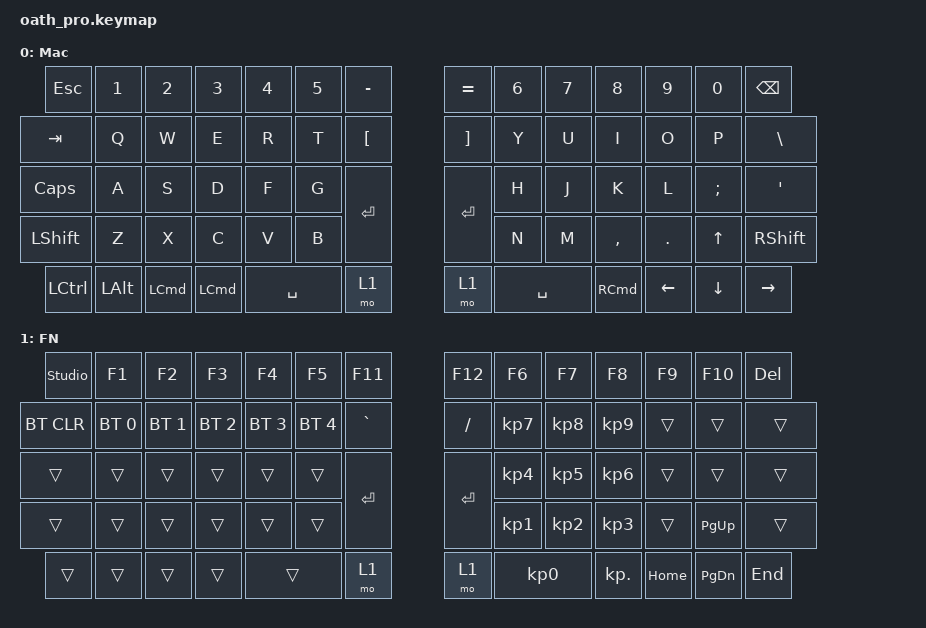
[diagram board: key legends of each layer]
#include <behaviors.dtsi>
#include <dt-bindings/zmk/keys.h>
#include <dt-bindings/zmk/bt.h>

/ {
        keymap {
                compatible = "zmk,keymap";

                default_layer { //Layer 0
                        display-name = "Mac";
// -------------------------------------------------------------------------------------------
// |  ESC |  1  |  2  |  3  |  4  |  5  |  -  |   |  =  |  6  |  7  |  8  |  9  |  10 | BSPC |
// |  TAB |  Q  |  W  |  E  |  R  |  T  |  [  |   |  ]  |  Y  |  U  |  I  |  O  |  P  |   \  |
// | CAPS |  A  |  S  |  D  |  F  |  G  |     |   |     |  H  |  J  |  K  |  L  |  ;  |  '   |
// | SHFT |  Z  |  X  |  C  |  V  |  B  | ENT |   | ENT |  N  |  M  |  ,  |  .  |  UP | SHFT |
// | CTRL | OPT | CMD | CMD |     | SPC |  FN |   |  FN | SPC |     | CMD | LFT | DWN |  RGT |
// -------------------------------------------------------------------------------------------                        
                        bindings = <
        &kp ESC   &kp N1   &kp N2    &kp N3    &kp N4    &kp N5 &kp MINUS     &kp EQUAL &kp N6    &kp N7 &kp N8    &kp N9   &kp N0   &kp BSPC          
        &kp TAB   &kp Q    &kp W     &kp E     &kp R     &kp T  &kp LBKT      &kp RBKT  &kp Y     &kp U  &kp I     &kp O    &kp P    &kp BSLH
        &kp CAPS  &kp A    &kp S     &kp D     &kp F     &kp G                          &kp H     &kp J  &kp K     &kp L    &kp SEMI &kp SQT
        &kp LSHFT &kp Z    &kp X     &kp C     &kp V     &kp B  &kp ENTER     &kp ENTER &kp N     &kp M  &kp COMMA &kp DOT  &kp UP   &kp RSHFT
        &kp LCTRL &kp LALT &kp LCMD  &kp LCMD  &kp SPACE        &mo 1         &mo 1     &kp SPACE        &kp RCMD  &kp LEFT &kp DOWN &kp RIGHT
                        >;
                };

                fn_layer { //Layer 1
                        display-name = "FN";
// -------------------------------------------------------------------------------------------
// |STUDIO|  F1 |  F2 |  F3 |  F4 |  F5 | F11 |   | F12 |  F6 |  F7 |  F8 |  F9 | F10 |  DEL |
// | BTCLR| BT1 | BT2 | BT3 | BT4 | BT5 |  `  |   |  /  |  7  |  8  |  9  |     |     |      |
// |      |     |     |     |     |     |     |   |     |  4  |  5  |  6  |     |     |      |
// |      |     |     |     |     |     | ENT |   | ENT |  1  |  2  |  3  |     | VOL+|      |
// |      |     |     |     |     |     |  FN |   |  FN |  0  |     |  .  | PRE | VOL-| NEXT |
// -------------------------------------------------------------------------------------------
                        bindings = <
        &studio_unlock &kp F1       &kp F2       &kp F3       &kp F4       &kp F5       &kp F11       &kp F12   &kp F6     &kp F7    &kp F8     &kp F9   &kp F10   &kp DEL          
        &bt BT_CLR     &bt BT_SEL 0 &bt BT_SEL 1 &bt BT_SEL 2 &bt BT_SEL 3 &bt BT_SEL 4 &kp GRAVE     &kp SLASH &kp KP_N7  &kp KP_N8 &kp KP_N9  &trans   &trans    &trans
        &trans         &trans       &trans       &trans       &trans       &trans                               &kp KP_N4  &kp KP_N5 &kp KP_N6  &trans   &trans    &trans
        &trans         &trans       &trans       &trans       &trans       &trans       &kp ENTER     &kp ENTER &kp KP_N1  &kp KP_N2 &kp KP_N3  &trans   &kp PG_UP &trans
        &trans         &trans       &trans       &trans       &trans                    &mo 1         &mo 1     &kp KP_N0            &kp KP_DOT &kp HOME &kp PG_DN &kp END
                        >;
                };

                extra_layer_1 { //Layer 2
                        status = "reserved";
                };

                extra_layer_2 { //Layer 3
                        status = "reserved";
                };

                extra_layer_3 { //Layer 4
                        status = "reserved";
                };
        };
};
